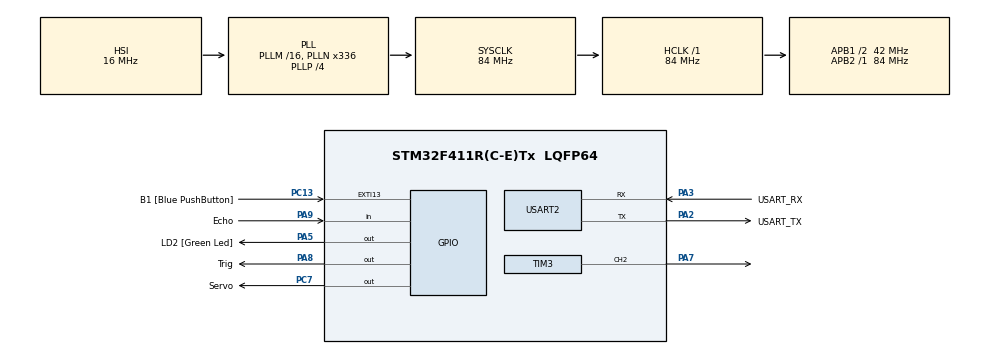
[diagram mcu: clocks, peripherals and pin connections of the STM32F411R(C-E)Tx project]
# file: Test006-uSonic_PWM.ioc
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Mcu.Family=STM32F4
Mcu.Name=STM32F411R(C-E)Tx
Mcu.Package=LQFP64
NVIC.PriorityGroup=NVIC_PRIORITYGROUP_0
PA13.GPIO_Label=TMS
PA13.Mode=Serial_Wire
PA13.Signal=SYS_JTMS-SWDIO
PA14.GPIO_Label=TCK
PA14.Mode=Serial_Wire
PA14.Signal=SYS_JTCK-SWCLK
PA2.GPIO_Label=USART_TX
PA2.Mode=Asynchronous
PA2.Signal=USART2_TX
PA3.GPIO_Label=USART_RX
PA3.Mode=Asynchronous
PA3.Signal=USART2_RX
PA5.GPIO_Label=LD2 [Green Led]
PA5.Signal=GPIO_Output
PA7.Signal=S_TIM3_CH2
PA8.GPIO_Label=Trig
PA8.Signal=GPIO_Output
PA9.GPIO_Label=Echo
PA9.Signal=GPIO_Input
PB3.GPIO_Label=SWO
PB3.Signal=SYS_JTDO-SWO
PC13-ANTI_TAMP.GPIO_Label=B1 [Blue PushButton]
PC13-ANTI_TAMP.GPIO_ModeDefaultEXTI=GPIO_MODE_IT_FALLING
PC13-ANTI_TAMP.Signal=GPXTI13
PC14-OSC32_IN.Mode=LSE-External-Oscillator
PC14-OSC32_IN.Signal=RCC_OSC32_IN
PC15-OSC32_OUT.Mode=LSE-External-Oscillator
PC15-OSC32_OUT.Signal=RCC_OSC32_OUT
PC7.GPIO_Label=Servo
PC7.Signal=GPIO_Output
PH0\ -\ OSC_IN.Mode=HSE-External-Clock-Source
PH0\ -\ OSC_IN.Signal=RCC_OSC_IN
PH1\ -\ OSC_OUT.Mode=HSE-External-Clock-Source
PH1\ -\ OSC_OUT.Signal=RCC_OSC_OUT
ProjectManager.HeapSize=0x200
ProjectManager.StackSize=0x400
ProjectManager.TargetToolchain=STM32CubeIDE
RCC.48MHZClocksFreq_Value=84000000
RCC.AHBFreq_Value=84000000
RCC.APB1CLKDivider=RCC_HCLK_DIV2
RCC.APB1Freq_Value=42000000
RCC.APB1TimFreq_Value=84000000
RCC.APB2Freq_Value=84000000
RCC.APB2TimFreq_Value=84000000
RCC.CortexFreq_Value=84000000
RCC.FLatency-AdvancedSettings=FLASH_LATENCY_2
RCC.HCLKFreq_Value=84000000
RCC.HSE_VALUE=8000000
RCC.HSI_VALUE=16000000
RCC.PLLN=336
RCC.PLLP=RCC_PLLP_DIV4
RCC.SYSCLKFreq_VALUE=84000000
RCC.SYSCLKSource=RCC_SYSCLKSOURCE_PLLCLK
RCC.VCOOutputFreq_Value=336000000
SH.S_TIM3_CH2.0=TIM3_CH2,PWM Generation2 CH2
TIM2.Prescaler=84-1
TIM3.Channel-PWM\ Generation2\ CH2=TIM_CHANNEL_2
TIM3.Period=2000-1
TIM3.Prescaler=840-1
USART2.VirtualMode=VM_ASYNC
VP_TIM1_VS_ClockSourceINT.Mode=Internal
VP_TIM2_VS_ClockSourceINT.Mode=Internal
board=NUCLEO-F411RE

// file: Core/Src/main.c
/* USER CODE BEGIN Header */
/**
  ******************************************************************************
  * @file           : main.c
  * @brief          : Main program body
  ******************************************************************************
  * @attention
  *
  * Copyright (c) 2025 STMicroelectronics.
  * All rights reserved.
  *
  * This software is licensed under terms that can be found in the LICENSE file
  * in the root directory of this software component.
  * If no LICENSE file comes with this software, it is provided AS-IS.
  *
  ******************************************************************************
  */
/* USER CODE END Header */
#include "main.h"

/* USER CODE BEGIN Includes */
#include <stdio.h>
// #include "C:\Users\user\source\repos\STM32\myLib\UltraSonic.h" // Function Call

// #include "UltraSonic.h"
/* USER CODE END Includes */

TIM_HandleTypeDef htim1;
TIM_HandleTypeDef htim2;
TIM_HandleTypeDef htim3;

UART_HandleTypeDef huart2;

void SystemClock_Config(void);
static void MX_GPIO_Init(void);
static void MX_USART2_UART_Init(void);
static void MX_TIM2_Init(void);
static void MX_TIM3_Init(void);
static void MX_TIM1_Init(void);

/* USER CODE BEGIN 0 */
volatile double dist; //
volatile int Time_RT; //

// *** External Interrupt ISR  *** //
void HAL_GPIO_EXTI_Callback(uint16_t GPIO_Pin)
{
	// Assume that there is "Echo" GPIO EXTI Pin

	if ( GPIO_Pin == Echo_Pin )
	{
		// Rising Edge ('0' -> '1')
		if ( HAL_GPIO_ReadPin(Echo_GPIO_Port, Echo_Pin) == 1 )
			htim2.Instance->CNT = 0;

		// Falling Edge ('1' -> '0')
		else // ( HAL_GPIO_ReadPin(Echo_GPIO_Port, Echo_Pin) == 0 )
		{
			Time_RT = htim2.Instance->CNT; // Round-trip Time
			dist = Time_RT * 0.17;
		}
	}
}

/* USER CODE END 0 */

int main(void)
{

  /* MCU Configuration--------------------------------------------------------*/

  /* Reset of all peripherals, Initializes the Flash interface and the Systick. */
  HAL_Init();

  /* Configure the system clock */
  SystemClock_Config();

  /* Initialize all configured peripherals */
  MX_GPIO_Init();
  MX_USART2_UART_Init();
  MX_TIM2_Init();
  MX_TIM3_Init();
  MX_TIM1_Init();
  /* USER CODE BEGIN 2 */
  ProgramStart("Ultra-Sonic Sensor (SRF05) - PWM(Trig) & Interrupt(Echo)");
  TIM_init(&htim2); // which Timer will be used?
  HAL_TIM_PWM_Start(&htim1, TIM_CHANNEL_1);
  HAL_TIM_PWM_Start(&htim3, TIM_CHANNEL_2); // Start Timer3 for Trig PWM Signal
  // HAL_StatusTypeDef HAL_TIM_PWM_Start(TIM_HandleTypeDef *htim, uint32_t Channel);
  HAL_TIM_Base_Start(&htim2); // Start Timer2 for Echo Interrupt

  /* USER CODE END 2 */

  /* Infinite loop */
  /* USER CODE BEGIN WHILE */
  while (1)
  {
	  printf( "Distance : %f \r\n", dist);
	  HAL_Delay(500); // Meas. Interval 500 ms
	  /*
	   *
	   * if(iDist < 50
	   *
	   *
	   *  */

    /* USER CODE END WHILE */

  }
}

void SystemClock_Config(void)
{
  RCC_OscInitTypeDef RCC_OscInitStruct = {0};
  RCC_ClkInitTypeDef RCC_ClkInitStruct = {0};

  /** Configure the main internal regulator output voltage
  */
  __HAL_RCC_PWR_CLK_ENABLE();
  __HAL_PWR_VOLTAGESCALING_CONFIG(PWR_REGULATOR_VOLTAGE_SCALE1);

  /** Initializes the RCC Oscillators according to the specified parameters
  * in the RCC_OscInitTypeDef structure.
  */
  RCC_OscInitStruct.OscillatorType = RCC_OSCILLATORTYPE_HSI;
  RCC_OscInitStruct.HSIState = RCC_HSI_ON;
  RCC_OscInitStruct.HSICalibrationValue = RCC_HSICALIBRATION_DEFAULT;
  RCC_OscInitStruct.PLL.PLLState = RCC_PLL_ON;
  RCC_OscInitStruct.PLL.PLLSource = RCC_PLLSOURCE_HSI;
  RCC_OscInitStruct.PLL.PLLM = 16;
  RCC_OscInitStruct.PLL.PLLN = 336;
  RCC_OscInitStruct.PLL.PLLP = RCC_PLLP_DIV4;
  RCC_OscInitStruct.PLL.PLLQ = 4;
  if (HAL_RCC_OscConfig(&RCC_OscInitStruct) != HAL_OK)
  {
    Error_Handler();
  }

  /** Initializes the CPU, AHB and APB buses clocks
  */
  RCC_ClkInitStruct.ClockType = RCC_CLOCKTYPE_HCLK|RCC_CLOCKTYPE_SYSCLK
                              |RCC_CLOCKTYPE_PCLK1|RCC_CLOCKTYPE_PCLK2;
  RCC_ClkInitStruct.SYSCLKSource = RCC_SYSCLKSOURCE_PLLCLK;
  RCC_ClkInitStruct.AHBCLKDivider = RCC_SYSCLK_DIV1;
  RCC_ClkInitStruct.APB1CLKDivider = RCC_HCLK_DIV2;
  RCC_ClkInitStruct.APB2CLKDivider = RCC_HCLK_DIV1;

  if (HAL_RCC_ClockConfig(&RCC_ClkInitStruct, FLASH_LATENCY_2) != HAL_OK)
  {
    Error_Handler();
  }
}

static void MX_TIM1_Init(void)
{

  TIM_ClockConfigTypeDef sClockSourceConfig = {0};
  TIM_MasterConfigTypeDef sMasterConfig = {0};

  htim1.Instance = TIM1;
  htim1.Init.Prescaler = 0;
  htim1.Init.CounterMode = TIM_COUNTERMODE_UP;
  htim1.Init.Period = 65535;
  htim1.Init.ClockDivision = TIM_CLOCKDIVISION_DIV1;
  htim1.Init.RepetitionCounter = 0;
  htim1.Init.AutoReloadPreload = TIM_AUTORELOAD_PRELOAD_DISABLE;
  if (HAL_TIM_Base_Init(&htim1) != HAL_OK)
  {
    Error_Handler();
  }
  sClockSourceConfig.ClockSource = TIM_CLOCKSOURCE_INTERNAL;
  if (HAL_TIM_ConfigClockSource(&htim1, &sClockSourceConfig) != HAL_OK)
  {
    Error_Handler();
  }
  sMasterConfig.MasterOutputTrigger = TIM_TRGO_RESET;
  sMasterConfig.MasterSlaveMode = TIM_MASTERSLAVEMODE_DISABLE;
  if (HAL_TIMEx_MasterConfigSynchronization(&htim1, &sMasterConfig) != HAL_OK)
  {
    Error_Handler();
  }

}

static void MX_TIM2_Init(void)
{

  TIM_ClockConfigTypeDef sClockSourceConfig = {0};
  TIM_MasterConfigTypeDef sMasterConfig = {0};

  htim2.Instance = TIM2;
  htim2.Init.Prescaler = 84-1;
  htim2.Init.CounterMode = TIM_COUNTERMODE_UP;
  htim2.Init.Period = 4294967295;
  htim2.Init.ClockDivision = TIM_CLOCKDIVISION_DIV1;
  htim2.Init.AutoReloadPreload = TIM_AUTORELOAD_PRELOAD_DISABLE;
  if (HAL_TIM_Base_Init(&htim2) != HAL_OK)
  {
    Error_Handler();
  }
  sClockSourceConfig.ClockSource = TIM_CLOCKSOURCE_INTERNAL;
  if (HAL_TIM_ConfigClockSource(&htim2, &sClockSourceConfig) != HAL_OK)
  {
    Error_Handler();
  }
  sMasterConfig.MasterOutputTrigger = TIM_TRGO_RESET;
  sMasterConfig.MasterSlaveMode = TIM_MASTERSLAVEMODE_DISABLE;
  if (HAL_TIMEx_MasterConfigSynchronization(&htim2, &sMasterConfig) != HAL_OK)
  {
    Error_Handler();
  }

}

static void MX_TIM3_Init(void)
{

  TIM_MasterConfigTypeDef sMasterConfig = {0};
  TIM_OC_InitTypeDef sConfigOC = {0};

  htim3.Instance = TIM3;
  htim3.Init.Prescaler = 840-1;
  htim3.Init.CounterMode = TIM_COUNTERMODE_UP;
  htim3.Init.Period = 2000-1;
  htim3.Init.ClockDivision = TIM_CLOCKDIVISION_DIV1;
  htim3.Init.AutoReloadPreload = TIM_AUTORELOAD_PRELOAD_DISABLE;
  if (HAL_TIM_PWM_Init(&htim3) != HAL_OK)
  {
    Error_Handler();
  }
  sMasterConfig.MasterOutputTrigger = TIM_TRGO_RESET;
  sMasterConfig.MasterSlaveMode = TIM_MASTERSLAVEMODE_DISABLE;
  if (HAL_TIMEx_MasterConfigSynchronization(&htim3, &sMasterConfig) != HAL_OK)
  {
    Error_Handler();
  }
  sConfigOC.OCMode = TIM_OCMODE_PWM1;
  sConfigOC.Pulse = 0;
  sConfigOC.OCPolarity = TIM_OCPOLARITY_HIGH;
  sConfigOC.OCFastMode = TIM_OCFAST_DISABLE;
  if (HAL_TIM_PWM_ConfigChannel(&htim3, &sConfigOC, TIM_CHANNEL_2) != HAL_OK)
  {
    Error_Handler();
  }
  HAL_TIM_MspPostInit(&htim3);

}

static void MX_USART2_UART_Init(void)
{

  huart2.Instance = USART2;
  huart2.Init.BaudRate = 115200;
  huart2.Init.WordLength = UART_WORDLENGTH_8B;
  huart2.Init.StopBits = UART_STOPBITS_1;
  huart2.Init.Parity = UART_PARITY_NONE;
  huart2.Init.Mode = UART_MODE_TX_RX;
  huart2.Init.HwFlowCtl = UART_HWCONTROL_NONE;
  huart2.Init.OverSampling = UART_OVERSAMPLING_16;
  if (HAL_UART_Init(&huart2) != HAL_OK)
  {
    Error_Handler();
  }

}

static void MX_GPIO_Init(void)
{
  GPIO_InitTypeDef GPIO_InitStruct = {0};

  /* GPIO Ports Clock Enable */
  __HAL_RCC_GPIOC_CLK_ENABLE();
  __HAL_RCC_GPIOH_CLK_ENABLE();
  __HAL_RCC_GPIOA_CLK_ENABLE();
  __HAL_RCC_GPIOB_CLK_ENABLE();

  /*Configure GPIO pin Output Level */
  HAL_GPIO_WritePin(GPIOA, LD2_Pin|Trig_Pin, GPIO_PIN_RESET);

  /*Configure GPIO pin Output Level */
  HAL_GPIO_WritePin(Servo_GPIO_Port, Servo_Pin, GPIO_PIN_RESET);

  /*Configure GPIO pin : B1_Pin */
  GPIO_InitStruct.Pin = B1_Pin;
  GPIO_InitStruct.Mode = GPIO_MODE_IT_FALLING;
  GPIO_InitStruct.Pull = GPIO_NOPULL;
  HAL_GPIO_Init(B1_GPIO_Port, &GPIO_InitStruct);

  /*Configure GPIO pins : LD2_Pin Trig_Pin */
  GPIO_InitStruct.Pin = LD2_Pin|Trig_Pin;
  GPIO_InitStruct.Mode = GPIO_MODE_OUTPUT_PP;
  GPIO_InitStruct.Pull = GPIO_NOPULL;
  GPIO_InitStruct.Speed = GPIO_SPEED_FREQ_LOW;
  HAL_GPIO_Init(GPIOA, &GPIO_InitStruct);

  /*Configure GPIO pin : Servo_Pin */
  GPIO_InitStruct.Pin = Servo_Pin;
  GPIO_InitStruct.Mode = GPIO_MODE_OUTPUT_PP;
  GPIO_InitStruct.Pull = GPIO_NOPULL;
  GPIO_InitStruct.Speed = GPIO_SPEED_FREQ_LOW;
  HAL_GPIO_Init(Servo_GPIO_Port, &GPIO_InitStruct);

  /*Configure GPIO pin : Echo_Pin */
  GPIO_InitStruct.Pin = Echo_Pin;
  GPIO_InitStruct.Mode = GPIO_MODE_INPUT;
  GPIO_InitStruct.Pull = GPIO_NOPULL;
  HAL_GPIO_Init(Echo_GPIO_Port, &GPIO_InitStruct);

}

void Error_Handler(void)
{
  __disable_irq();
  while (1)
  {
  }
}
